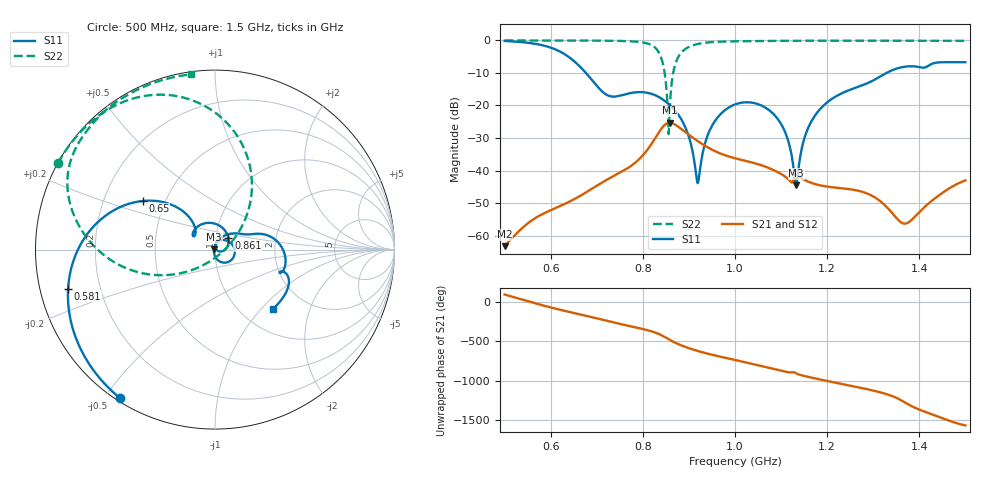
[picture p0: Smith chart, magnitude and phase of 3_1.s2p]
! TOUCHSTONE file generated by CST MICROWAVE STUDIO
! Date and time: Mon Oct 26 12:04:13 2020
! Project name: Scenario_1_Circular_Tissue_out_of_Line_v2.cst
! Parameters = {dy1=-311.4; L_HA=400; MT=2.54; Rad_Dielectric=30; Rad_Lower=7.3; Rad_Upper=30; a_HA=580; a_WG=246; b_HA=500; b_WG=121; c_HA=0; c_WG=187; d_feed=85; dx1=173; h_feed=15; h_lower=18; h_upper=40}
! Header version: 2018
! Port assignment regex: !\s*Touchstone port\s*([0-9]+)\s*=\s*(CST MWS port|CST DS port)\s*([0-9]+|Zmin|Zmax)\s*\(\"(.*)\"\)(\s*mode\s*([0-9]+))?.*
! Touchstone port assignment:
! Touchstone port 1 = CST MWS port 1 ("")
! Touchstone port 2 = CST MWS port 2 ("")
# GHz S DB R 50
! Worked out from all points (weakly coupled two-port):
!   1003 points, 500 MHz to 1.5 GHz, reference 50 ohm
!   highest |S21| = -25.29 dB at 858 MHz (marker M1); lowest = -63.3 dB at 500 MHz (marker M2)
!   lowest |S11| = -44.6 dB at 1.133 GHz (marker M3), VSWR 1.01, Z = 49.4 + j0.139 ohm
!   |S11| at or under -10 dB: 676.3 MHz to 1.329 GHz (652.5 MHz wide, 65.1 % of centre)
!   |S22| runs from -28.8 to 0.0 dB; largest |S21 - S12| = 0.00028
!   S11 on the Smith chart (normalised r, x): 500 MHz: 0.01, -0.55; 581 MHz: 0.08, -0.13; 650 MHz: 0.37, +0.27; 861 MHz: 1.15, +0.15; 1.5 GHz: 1.38, -1.17
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0.5  -0.15 -122.5  -63.27 92.6  -63.27 92.6  -0.01 151.1
0.581  -1.44 -165.1  -53.49 -41.9  -53.49 -41.9  -0.02 145.5
0.65  -6.28 146.0  -48.89 -140.4  -48.89 -140.4  -0.03 140.0
0.667  -8.56 136.0  -47.54 -162.9  -47.54 -162.9  -0.04 138.4
0.724  -16.91 139.3  -42.67 117.3  -42.67 117.3  -0.09 131.7
0.78  -16.03 137.6  -37.99 41.1  -37.99 41.1  -0.32 120.2
0.834  -17.35 79.5  -28.45 -46.0  -28.45 -46.0  -3.53 80.7
0.858  -19.82 44.5  -25.29 -120.7  -25.29 -120.7  -22.21 -116.7
0.861  -20.21 39.9  -25.34 -130.5  -25.34 -130.5  -15.20 -138.8
0.867  -21.08 30.5  -25.66 -149.1  -25.66 -149.1  -9.15 -155.9
0.877  -22.84 14.5  -26.57 -176.6  -26.57 -176.6  -5.05 -172.4
0.9  -29.68 -18.8  -29.02 132.3  -29.02 132.3  -1.99 167.6
0.919  -43.89 27.9  -30.94 97.4  -30.94 97.4  -1.09 158.5
0.949  -26.55 68.2  -33.51 50.8  -33.51 50.8  -0.53 149.1
1  -19.68 11.1  -36.24 -17.2  -36.24 -17.2  -0.28 140.0
1.089  -23.48 -71.0  -40.23 -138.4  -40.23 -138.4  -0.14 130.7
1.113  -29.77 -93.5  -42.35 -170.0  -42.32 -170.2  -0.12 128.6
1.133  -44.59 166.2  -41.27 172.2  -41.26 173.0  -0.11 126.9
1.167  -24.57 69.2  -43.87 117.9  -43.87 117.9  -0.09 124.2
1.334  -9.63 11.1  -51.94 -100.0  -51.94 -100.0  -0.09 111.5
1.373  -8.01 -8.8  -56.21 149.8  -56.21 149.8  -0.09 108.4
1.5  -6.70 -45.8  -43.04 -127.5  -43.03 -127.4  -0.13 97.8
